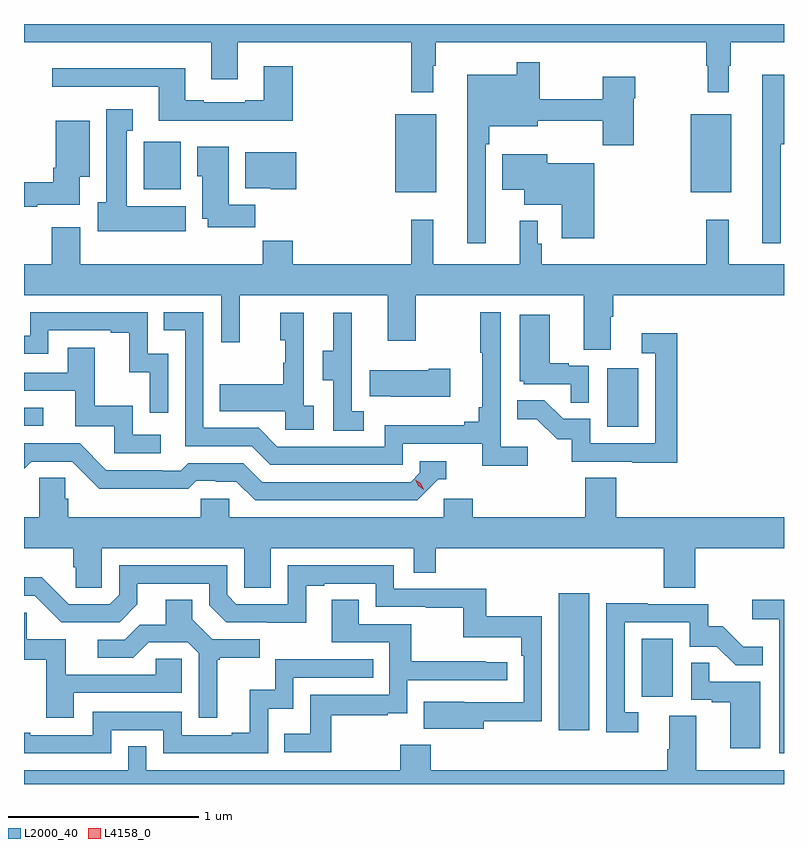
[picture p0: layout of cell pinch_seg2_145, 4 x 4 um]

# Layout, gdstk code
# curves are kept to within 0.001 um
import gdstk
lib = gdstk.Library(unit=1e-6, precision=1e-09)
def R(c, l, rs):  # rectangles x0, y0, x1, y1
    for r in rs: c.add(gdstk.rectangle(r[:2], r[2:], *l))
def P(c, l, *ps):  # polygons
    for p in ps: c.add(gdstk.Polygon(p, *l))
L2000_40 = (2000, 40)
L4158_0 = (4158, 0)

pinch_seg2_145 = lib.new_cell('pinch_seg2_145')
R(pinch_seg2_145, L2000_40, [(1105.721,636.024,1105.882,636.745), (1106.156,636.198,1106.32,636.505), (1105.976,637.62,1106.14,637.927), (1102.906,637.626,1103.008,637.719), (1104.86,638.855,1105.075,639.265), (1106.414,638.855,1106.629,639.265), (1103.535,638.87,1103.731,639.12)])
P(pinch_seg2_145, L2000_40, [(1105.06,639.521),(1105.072,639.521),(1105.072,639.644),(1106.497,639.644),(1106.497,639.521),(1106.505,639.521),(1106.505,639.381),(1106.614,639.381),(1106.614,639.521),(1106.626,639.521),(1106.626,639.644),(1106.906,639.644),(1106.906,639.74),(1102.906,639.74),(1102.906,639.644),(1103.891,639.644),(1103.891,639.45),(1104.031,639.45),(1104.031,639.644),(1104.943,639.644),(1104.943,639.381),(1105.06,639.381)],
  [(1105.335,639.107),(1105.355,639.107),(1105.355,639.203),(1105.609,639.203),(1105.609,639.232),(1105.951,639.232),(1105.951,639.102),(1106.116,639.102),(1106.116,639.35),(1106.124,639.35),(1106.124,639.463),(1105.951,639.463),(1105.951,639.343),(1105.621,639.343),(1105.621,639.538),(1105.5,639.538),(1105.5,639.472),(1105.238,639.472),(1105.238,638.586),(1105.335,638.586)],
  [(1104.32,639.517),(1104.167,639.517),(1104.167,639.34),(1104.071,639.34),(1104.071,639.327),(1103.851,639.327),(1103.851,639.34),(1103.755,639.34),(1103.755,639.508),(1103.055,639.508),(1103.055,639.411),(1103.615,639.411),(1103.615,639.23),(1104.32,639.23)],
  [(1106.889,639.107),(1106.906,639.107),(1106.906,639.472),(1106.792,639.472),(1106.792,638.586),(1106.889,638.586)],
  [(1103.758,638.782),(1103.446,638.782),(1103.446,639.179),(1103.479,639.179),(1103.479,639.292),(1103.339,639.292),(1103.339,638.802),(1103.294,638.802),(1103.294,638.648),(1103.758,638.648)],
  [(1102.976,638.79),(1103.2,638.79),(1103.2,638.936),(1103.251,638.936),(1103.251,639.232),(1103.072,639.232),(1103.072,638.983),(1103.06,638.983),(1103.06,638.906),(1102.906,638.906),(1102.906,638.778),(1102.976,638.778)],
  [(1104.122,638.788),(1103.983,638.788),(1103.983,639.094),(1103.819,639.094),(1103.819,638.94),(1103.843,638.94),(1103.843,638.714),(1103.873,638.714),(1103.873,638.67),(1104.122,638.67)],
  [(1104.34,639.064),(1104.071,639.064),(1104.071,638.876),(1104.204,638.876),(1104.204,638.87),(1104.34,638.87)],
  [(1105.907,639.007),(1105.66,639.007),(1105.66,639.055),(1105.424,639.055),(1105.424,638.867),(1105.538,638.867),(1105.538,638.789),(1105.736,638.789),(1105.736,638.613),(1105.907,638.613)],
  [(1105.993,638.2),(1106.006,638.2),(1106.006,638.312),(1106.906,638.312),(1106.906,638.476),(1106.615,638.476),(1106.615,638.71),(1106.497,638.71),(1106.497,638.476),(1105.631,638.476),(1105.631,638.583),(1105.611,638.583),(1105.611,638.704),(1105.514,638.704),(1105.514,638.476),(1105.061,638.476),(1105.061,638.71),(1104.943,638.71),(1104.943,638.476),(1104.32,638.476),(1104.32,638.6),(1104.163,638.6),(1104.163,638.476),(1103.203,638.476),(1103.203,638.671),(1103.051,638.671),(1103.051,638.476),(1102.906,638.476),(1102.906,638.312),(1103.943,638.312),(1103.943,638.064),(1104.041,638.064),(1104.041,638.312),(1104.821,638.312),(1104.821,638.073),(1104.969,638.073),(1104.969,638.312),(1105.853,638.312),(1105.853,638.026),(1105.993,638.026)],
  [(1105.558,637.516),(1105.416,637.516),(1105.416,638.224),(1105.308,638.224),(1105.308,638.011),(1105.319,638.011),(1105.319,637.723),(1105.3,637.723),(1105.3,637.646),(1105.223,637.646),(1105.223,637.627),(1104.804,637.627),(1104.804,637.515),(1104.24,637.515),(1104.141,637.614),(1103.85,637.614),(1103.85,638.223),(1103.641,638.223),(1103.641,638.127),(1103.754,638.127),(1103.754,637.518),(1104.104,637.518),(1104.203,637.419),(1104.9,637.419),(1104.9,637.53),(1105.319,637.53),(1105.319,637.414),(1105.558,637.414)],
  [(1103.664,638.004),(1103.556,638.004),(1103.556,638.223),(1102.938,638.223),(1102.938,638.1),(1102.906,638.1),(1102.906,638.004),(1103.034,638.004),(1103.034,638.127),(1103.363,638.127),(1103.363,638.115),(1103.459,638.115),(1103.459,637.907),(1103.568,637.907),(1103.568,637.695),(1103.664,637.695)],
  [(1104.694,637.703),(1104.63,637.703),(1104.63,638.007),(1104.632,638.007),(1104.632,638.221),(1104.533,638.221),(1104.533,638.019),(1104.479,638.019),(1104.479,637.864),(1104.534,637.864),(1104.534,637.6),(1104.694,637.6)],
  [(1104.43,637.73),(1104.378,637.73),(1104.378,638.221),(1104.254,638.221),(1104.254,638.076),(1104.28,638.076),(1104.28,637.958),(1104.27,637.958),(1104.27,637.843),(1103.935,637.843),(1103.935,637.703),(1104.282,637.703),(1104.282,637.605),(1104.43,637.605)],
  [(1105.878,637.941),(1105.772,637.941),(1105.772,637.954),(1105.672,637.954),(1105.672,638.209),(1105.514,638.209),(1105.514,637.86),(1105.536,637.86),(1105.536,637.845),(1105.783,637.845),(1105.783,637.747),(1105.878,637.747)],
  [(1106.345,638.113),(1106.157,638.113),(1106.157,638.007),(1106.229,638.007),(1106.229,637.533),(1105.887,637.533),(1105.887,637.662),(1105.743,637.662),(1105.645,637.76),(1105.501,637.76),(1105.501,637.661),(1105.605,637.661),(1105.712,637.554),(1105.789,637.554),(1105.789,637.437),(1106.107,637.437),(1106.107,637.432),(1106.345,637.432)],
  [(1103.626,637.578),(1103.478,637.578),(1103.478,637.732),(1103.279,637.732),(1103.279,638.035),(1103.135,638.035),(1103.135,637.905),(1102.906,637.905),(1102.906,637.809),(1103.177,637.809),(1103.177,637.623),(1103.382,637.623),(1103.382,637.482),(1103.626,637.482)],
  [(1105.15,637.926),(1105.037,637.926),(1105.037,637.918),(1104.727,637.918),(1104.727,637.781),(1104.835,637.781),(1104.835,637.778),(1105.15,637.778)],
  [(1105.086,637.344),(1105.129,637.344),(1105.129,637.44),(1104.99,637.44),(1104.99,637.377),(1104.942,637.329),(1104.159,637.329),(1104.06,637.428),(1103.771,637.428),(1103.732,637.389),(1103.633,637.389),(1103.633,637.392),(1103.34,637.392),(1103.199,637.533),(1102.906,637.533),(1102.906,637.399),(1102.944,637.437),(1103.16,637.437),(1103.302,637.295),(1103.538,637.295),(1103.538,637.293),(1103.771,637.293),(1103.813,637.335),(1103.916,637.335),(1103.916,637.332),(1104.023,637.332),(1104.122,637.233),(1104.975,637.233)],
  [(1103.316,636.98),(1104.066,636.98),(1104.066,636.772),(1104.205,636.772),(1104.205,636.98),(1104.957,636.98),(1104.957,636.853),(1105.073,636.853),(1105.073,636.98),(1106.273,636.98),(1106.273,636.772),(1106.438,636.772),(1106.438,636.98),(1106.906,636.98),(1106.906,637.144),(1106.024,637.144),(1106.024,637.352),(1105.859,637.352),(1105.859,637.144),(1105.268,637.144),(1105.268,637.242),(1105.116,637.242),(1105.116,637.144),(1103.985,637.144),(1103.985,637.242),(1103.835,637.242),(1103.835,637.144),(1103.138,637.144),(1103.138,637.242),(1103.123,637.242),(1103.123,637.352),(1102.986,637.352),(1102.986,637.144),(1102.906,637.144),(1102.906,636.98),(1103.165,636.98),(1103.165,636.882),(1103.179,636.882),(1103.179,636.772),(1103.316,636.772)],
  [(1105.327,636.07),(1105.632,636.07),(1105.632,636.622),(1105.339,636.622),(1105.339,636.768),(1104.852,636.768),(1104.852,636.891),(1104.294,636.891),(1104.294,636.687),(1104.024,636.687),(1103.976,636.735),(1103.976,636.891),(1103.406,636.891),(1103.406,636.735),(1103.358,636.687),(1103.142,636.687),(1103,636.829),(1102.906,636.829),(1102.906,636.732),(1102.962,636.732),(1103.103,636.591),(1103.409,636.591),(1103.503,636.685),(1103.503,636.795),(1103.88,636.795),(1103.88,636.681),(1103.97,636.591),(1104.391,636.59),(1104.391,636.783),(1104.487,636.783),(1104.487,636.795),(1104.756,636.795),(1104.756,636.672),(1105.021,636.672),(1105.021,636.667),(1105.218,636.667),(1105.218,636.512),(1105.523,636.512),(1105.523,636.416),(1105.536,636.416),(1105.536,636.171),(1105.009,636.172),(1105.009,636.032),(1105.327,636.032)],
  [(1104.523,636.102),(1104.821,636.102),(1104.821,636.113),(1104.924,636.113),(1104.924,636.285),(1105.45,636.285),(1105.45,636.381),(1105.337,636.381),(1105.337,636.386),(1104.944,636.386),(1104.944,636.582),(1104.667,636.582),(1104.667,636.71),(1104.527,636.71),(1104.527,636.486),(1104.828,636.486),(1104.828,636.21),(1104.412,636.21),(1104.412,636.004),(1104.277,636.004),(1104.277,635.907),(1104.523,635.907)],
  [(1103.923,636.393),(1103.935,636.393),(1103.935,636.404),(1104.148,636.404),(1104.148,636.501),(1103.898,636.501),(1103.791,636.608),(1103.791,636.71),(1103.651,636.71),(1103.651,636.578),(1103.516,636.578),(1103.436,636.498),(1103.295,636.498),(1103.295,636.405),(1103.482,636.405),(1103.563,636.486),(1103.769,636.486),(1103.826,636.429),(1103.826,636.09),(1103.923,636.09)],
  [(1106.906,636.71),(1106.739,636.71),(1106.739,636.608),(1106.88,636.608),(1106.88,635.901),(1106.906,635.901)],
  [(1106.14,636.117),(1106.067,636.117),(1106.067,636.591),(1106.409,636.591),(1106.409,636.462),(1106.553,636.462),(1106.651,636.364),(1106.795,636.364),(1106.795,636.463),(1106.691,636.463),(1106.584,636.57),(1106.508,636.57),(1106.508,636.687),(1106.189,636.687),(1106.189,636.692),(1105.971,636.692),(1105.971,636.012),(1106.14,636.012)],
  [(1103.167,636.219),(1103.736,636.219),(1103.736,636.399),(1103.599,636.399),(1103.599,636.315),(1103.125,636.315),(1103.125,636.501),(1102.92,636.501),(1102.92,636.642),(1102.906,636.642),(1102.906,636.393),(1103.023,636.393),(1103.023,636.09),(1103.167,636.09)],
  [(1103.364,636.024),(1103.64,636.024),(1103.64,635.901),(1104.192,635.901),(1104.192,636.137),(1104.324,636.137),(1104.324,636.3),(1104.743,636.3),(1104.743,636.396),(1104.228,636.396),(1104.228,636.235),(1104.095,636.235),(1104.095,636.01),(1103.999,636.01),(1103.999,635.997),(1103.736,635.997),(1103.736,636.12),(1103.268,636.12),(1103.268,635.997),(1102.939,635.997),(1102.939,636.01),(1102.906,636.01),(1102.906,635.901),(1103.364,635.901)],
  [(1106.782,636.279),(1106.513,636.279),(1106.513,636.377),(1106.418,636.377),(1106.418,636.183),(1106.525,636.183),(1106.525,636.171),(1106.624,636.171),(1106.624,635.928),(1106.782,635.928)],
  [(1106.906,635.812),(1106.443,635.812),(1106.443,636.098),(1106.303,636.098),(1106.303,635.924),(1106.291,635.924),(1106.291,635.812),(1105.046,635.812),(1105.046,635.947),(1104.886,635.947),(1104.886,635.812),(1103.55,635.812),(1103.55,635.939),(1103.454,635.939),(1103.454,635.812),(1102.906,635.812),(1102.906,635.74),(1106.906,635.74)])
P(pinch_seg2_145, L4158_0, [(1105.011,637.289),(1104.98,637.309),(1104.964,637.342),(1104.964,637.342),(1104.965,637.342),(1104.995,637.322),(1105.011,637.289),(1105.011,637.289)])

lib.write_gds('pinch_seg2_145.gds')
